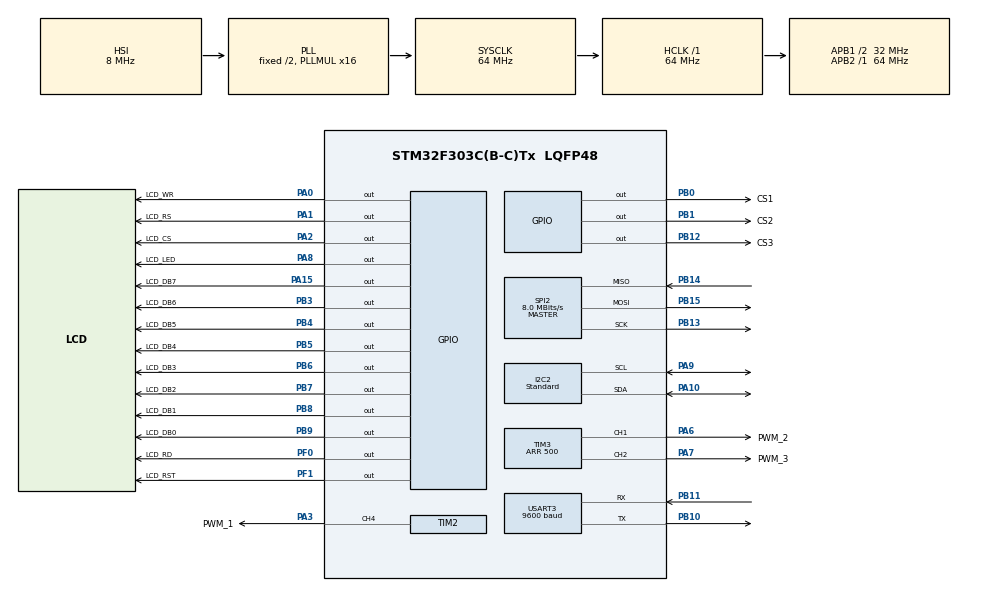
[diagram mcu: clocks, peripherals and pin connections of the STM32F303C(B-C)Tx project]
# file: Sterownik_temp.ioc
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I2C2.I2C_Speed_Mode=I2C_Standard
I2C2.Speed=10
I2C2.Timing=0x200009FE
Mcu.Family=STM32F3
Mcu.Name=STM32F303C(B-C)Tx
Mcu.Package=LQFP48
NVIC.PriorityGroup=NVIC_PRIORITYGROUP_4
NVIC.TIM6_DAC_IRQn=true\:0\:0\:false\:false\:true\:true\:true
NVIC.TIM7_IRQn=true\:0\:0\:false\:false\:true\:true\:true
PA0.GPIO_Label=LCD_WR
PA0.Signal=GPIO_Output
PA1.GPIO_Label=LCD_RS
PA1.Signal=GPIO_Output
PA10.Mode=I2C
PA10.Signal=I2C2_SDA
PA13.Mode=Serial_Wire
PA13.Signal=SYS_JTMS-SWDIO
PA14.Mode=Serial_Wire
PA14.Signal=SYS_JTCK-SWCLK
PA15.GPIO_Label=LCD_DB7
PA15.Signal=GPIO_Output
PA2.GPIO_Label=LCD_CS
PA2.Signal=GPIO_Output
PA3.GPIO_Label=PWM_1
PA3.Signal=S_TIM2_CH4
PA6.GPIO_Label=PWM_2
PA6.Signal=S_TIM3_CH1
PA7.GPIO_Label=PWM_3
PA7.Signal=S_TIM3_CH2
PA8.GPIO_Label=LCD_LED
PA8.Signal=GPIO_Output
PA9.Mode=I2C
PA9.Signal=I2C2_SCL
PB0.GPIO_Label=CS1
PB0.Signal=GPIO_Output
PB1.GPIO_Label=CS2
PB1.Signal=GPIO_Output
PB10.Mode=Asynchronous
PB10.Signal=USART3_TX
PB11.Mode=Asynchronous
PB11.Signal=USART3_RX
PB12.GPIO_Label=CS3
PB12.Signal=GPIO_Output
PB13.Mode=Full_Duplex_Master
PB13.Signal=SPI2_SCK
PB14.Mode=Full_Duplex_Master
PB14.Signal=SPI2_MISO
PB15.Mode=Full_Duplex_Master
PB15.Signal=SPI2_MOSI
PB3.GPIO_Label=LCD_DB6
PB3.Signal=GPIO_Output
PB4.GPIO_Label=LCD_DB5
PB4.Signal=GPIO_Output
PB5.GPIO_Label=LCD_DB4
PB5.Signal=GPIO_Output
PB6.GPIO_Label=LCD_DB3
PB6.Signal=GPIO_Output
PB7.GPIO_Label=LCD_DB2
PB7.Signal=GPIO_Output
PB8.GPIO_Label=LCD_DB1
PB8.Signal=GPIO_Output
PB9.GPIO_Label=LCD_DB0
PB9.Signal=GPIO_Output
PC14-OSC32_IN.Mode=LSE-External-Oscillator
PC14-OSC32_IN.Signal=RCC_OSC32_IN
PC15-OSC32_OUT.Mode=LSE-External-Oscillator
PC15-OSC32_OUT.Signal=RCC_OSC32_OUT
PF0-OSC_IN.GPIO_Label=LCD_RD
PF0-OSC_IN.Signal=GPIO_Output
PF1-OSC_OUT.GPIO_Label=LCD_RST
PF1-OSC_OUT.Signal=GPIO_Output
ProjectManager.HeapSize=0x200
ProjectManager.StackSize=0x400
ProjectManager.TargetToolchain=TrueSTUDIO
RCC.AHBFreq_Value=64000000
RCC.APB1CLKDivider=RCC_HCLK_DIV2
RCC.APB1Freq_Value=32000000
RCC.APB1TimFreq_Value=64000000
RCC.APB2Freq_Value=64000000
RCC.APB2TimFreq_Value=64000000
RCC.CortexFreq_Value=64000000
RCC.HCLKFreq_Value=64000000
RCC.HSE_VALUE=8000000
RCC.HSI_VALUE=8000000
RCC.PLLMUL=RCC_PLL_MUL16
RCC.RTCClockSelection=RCC_RTCCLKSOURCE_LSE
RCC.SYSCLKFreq_VALUE=64000000
RCC.SYSCLKSourceVirtual=RCC_SYSCLKSOURCE_PLLCLK
RCC.USBFreq_Value=64000000
RTC.Hours=11
RTC.Minutes=30
RTC.Year=20
SH.S_TIM2_CH4.0=TIM2_CH4,PWM Generation4 CH4
SH.S_TIM3_CH1.0=TIM3_CH1,PWM Generation1 CH1
SH.S_TIM3_CH2.0=TIM3_CH2,PWM Generation2 CH2
SPI2.BaudRatePrescaler=SPI_BAUDRATEPRESCALER_4
SPI2.CLKPhase=SPI_PHASE_2EDGE
SPI2.CLKPolarity=SPI_POLARITY_LOW
SPI2.CalculateBaudRate=8.0 MBits/s
SPI2.DataSize=SPI_DATASIZE_8BIT
SPI2.Direction=SPI_DIRECTION_2LINES
SPI2.Mode=SPI_MODE_MASTER
SPI2.VirtualType=VM_MASTER
TIM2.AutoReloadPreload=TIM_AUTORELOAD_PRELOAD_ENABLE
TIM2.Channel-PWM\ Generation4\ CH4=TIM_CHANNEL_4
TIM2.Period=500
TIM3.AutoReloadPreload=TIM_AUTORELOAD_PRELOAD_ENABLE
TIM3.Channel-PWM\ Generation1\ CH1=TIM_CHANNEL_1
TIM3.Channel-PWM\ Generation2\ CH2=TIM_CHANNEL_2
TIM3.Period=500
TIM6.AutoReloadPreload=TIM_AUTORELOAD_PRELOAD_ENABLE
TIM6.Period=10000
TIM6.Prescaler=1
TIM7.AutoReloadPreload=TIM_AUTORELOAD_PRELOAD_ENABLE
TIM7.Period=30000
TIM7.Prescaler=10
USART3.BaudRate=9600
USART3.DMADisableonRxErrorParam=ADVFEATURE_DMA_DISABLEONRXERROR
USART3.OverrunDisableParam=ADVFEATURE_OVERRUN_DISABLE
USART3.VirtualMode-Asynchronous=VM_ASYNC
VP_RTC_VS_RTC_Activate.Mode=RTC_Enabled
VP_RTC_VS_RTC_Calendar.Mode=RTC_Calendar
VP_TIM6_VS_ClockSourceINT.Mode=Enable_Timer
VP_TIM7_VS_ClockSourceINT.Mode=Enable_Timer
board=custom

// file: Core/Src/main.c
/* USER CODE BEGIN Header */
/**
  ******************************************************************************
  * @file           : main.c
  * @brief          : Main program body
  ******************************************************************************
  * @attention
  *
  * <h2><center>&copy; Copyright (c) 2021 STMicroelectronics.
  * All rights reserved.</center></h2>
  *
  * This software component is licensed by ST under BSD 3-Clause license,
  * the "License"; You may not use this file except in compliance with the
  * License. You may obtain a copy of the License at:
  *                        opensource.org/licenses/BSD-3-Clause
  *
  ******************************************************************************
  */
/* USER CODE END Header */
#include "main.h"

/* USER CODE BEGIN Includes */
//#include "printf/printf.h"
#include "D:\stm projekty\Sterownik_temp\libs\lcd.h"
#include "D:\stm projekty\Sterownik_temp\TrueSTUDIO\Sterownik_temp\touch.h"
#include "D:\stm projekty\Sterownik_temp\TrueSTUDIO\Sterownik_temp\MAX31865_v1.h"
#include "D:\stm projekty\Sterownik_temp\TrueSTUDIO\Sterownik_temp\TC74A0.h"
#include "D:\stm projekty\Sterownik_temp\TrueSTUDIO\Sterownik_temp\disp_irq.h"
#include "D:\stm projekty\Sterownik_temp\TrueSTUDIO\Sterownik_temp\Flash.h"
/* USER CODE END Includes */

/* USER CODE BEGIN PTD */
//typedef struct{
//	float temp_diff[3];
//	uint8_t hysteresis[3];
//	uint16_t pwm_val[3];
//	float voltage_val[3];
//}temperature_differential_val;	// przechowuje dane o ró¿nicy tepm, wskazaniach napiêcia i PWM
/* USER CODE END PTD */

/* USER CODE BEGIN PD */
#define PWM_MAX 500

#define PIEC_PWM_MIN 375	// PWM 1 piec 8,5V
#define PIEC_PWM_MAX 500	// 12 V
#define PIEC_U_MIN 8.5
#define PIEC_U_MAX 12

#define SOLAR_PWM_MIN 237 	// PWM 2 solar 6,5V
#define SOLAR_PWM_MAX 500	// 12 V
#define SOLAR_U_MIN 6.5
#define SOLAR_U_MAX 12

#define OBIEG_PWM_MIN 252 	// PWM 3 cyrkulacja 6V
#define OBIEG_PWM_MAX 211	// 5 V
#define OBIEG_U_MIN 6
#define OBIEG_U_MAX 5
#define OBIEG_TIME 3

//#define hysteresis 0.5

/* USER CODE END PD */

I2C_HandleTypeDef hi2c2;

RTC_HandleTypeDef hrtc;

SPI_HandleTypeDef hspi2;

TIM_HandleTypeDef htim2;
TIM_HandleTypeDef htim3;
TIM_HandleTypeDef htim6;
TIM_HandleTypeDef htim7;

UART_HandleTypeDef huart3;

/* USER CODE BEGIN PV */
temperature temp = {0}; // wskazania temperatury ze wszystkch czujników

time t_last;  // przechowuje wskazania czasu z poprzedniego cyklu procesora je¿eli zostanie wykryta zmiana nadpisana zostanie tylko wskazanie które siê zmieni³o

//differntial_vals diff;

btn_location cr_screen;  // struktura przechowuj¹ca po³o¿enie wszystkich przycisków oraz wyœwietlanego menu

point ts_p;  // wskazania pkt x,y w którym wykryto dotkniêcie matrycy wyœwietlacza

time t,t_in_timer; // przechowuj¹ wskazania czasu dla g³ównej pêtli programu oraz wewn¹trz timera (przypisanie wartoœci przez urzytkownika w menu)

differntial_vals diff_vals, diff_menu; // wartoœci ró¿nic temperatur pomiêdzy zasobnikiem a innymi czujnikami s³u¿¹ jako odniesienie do wyznaczenia pwm-a poszczególnych pompek

temperature_differential_val diff_otp; // przechowuje dok³adne dane o ró¿nicy tepm, wskazaniach napiêcia i PWM

uint8_t obieg_cnt; // pompka obiegu pracuje w dwóch stanach (rozruch 5V i normalna praca 6V) po okreœlonym czasie nastêpuje prze³¹czenie z jednego na drugi do tego s³u¿y ten licznik

//int8_t temp_diff[3];

/* USER CODE END PV */

void SystemClock_Config(void);
static void MX_GPIO_Init(void);
static void MX_I2C2_Init(void);
static void MX_SPI2_Init(void);
static void MX_TIM2_Init(void);
static void MX_TIM3_Init(void);
static void MX_USART3_UART_Init(void);
static void MX_RTC_Init(void);
static void MX_TIM6_Init(void);
static void MX_TIM7_Init(void);
/* USER CODE BEGIN PFP */

void set_time(time t_init){
	// funkcja zapisuj¹ca godzinê do rtc wewn¹trz STM-a

	//struktury przechowujace date i czas
	RTC_TimeTypeDef sTime = {0};
	RTC_DateTypeDef sDate = {0};

	sTime.Hours = t_init.hour;
	sTime.Minutes = t_init.min;
	sTime.Seconds = 0;
	sTime.DayLightSaving = RTC_DAYLIGHTSAVING_NONE;
	sTime.StoreOperation = RTC_STOREOPERATION_RESET;
	if (HAL_RTC_SetTime(&hrtc, &sTime, RTC_FORMAT_BIN) != HAL_OK)
	{
		Error_Handler();
	}

	// przypisanie jakich kolwiek wartoœci do rejestrów daty
	// aby nadpisac RTC potrzebne jest jednoczesne zapisanie i godziny i daty
	// w programie wykorzystane bêd¹ jedynie wskazania godziny
	sDate.WeekDay = RTC_WEEKDAY_MONDAY;
	sDate.Month = RTC_MONTH_JANUARY;
	sDate.Date = 0x1;
	sDate.Year = 0x20;

	if (HAL_RTC_SetDate(&hrtc, &sDate, RTC_FORMAT_BIN) != HAL_OK)
	{
		Error_Handler();
	}
//	HAL_RTCEx_BKUPWrite(&hrtc,PTC_B)
}
time read_time(){
	//funkcja odczytuj¹ca czas z rtc STM-a

	time t= {0};  // pusta struktura czasu

	RTC_TimeTypeDef gTime = {0};
	RTC_DateTypeDef gDate = {0};

	//odczyt daty i godziny
	HAL_RTC_GetTime(&hrtc, &gTime,RTC_FORMAT_BIN);
	HAL_RTC_GetDate(&hrtc, &gDate,RTC_FORMAT_BIN);

	// nadpisanie struktury póŸniej u¿ywanej w programie
	t.year = gDate.Year;
	t.mon = gDate.Month;
	t.day = gDate.Date;
	t.hour = gTime.Hours;
	t.min = gTime.Minutes;
	t.sec = gTime.Seconds;

	return t;
}

void set_pwm_otp(uint16_t val,uint8_t otp_nr){
	// funkcja za³¹czaj¹ca pwm na odpowiednim wyjœciu dla pompki (pieca, solara, obiegu)
	// val (pwm) musi byc wiêksze od 100 je¿eli pompka jest za³¹czona
	if(val > 100){
		switch(otp_nr){
		case PIEC_DIFF:
			HAL_TIM_PWM_Start(&htim2,TIM_CHANNEL_4);
			TIM2->CCR4 = val;
			break;
		case SOLAR_DIFF:
			HAL_TIM_PWM_Start(&htim3,TIM_CHANNEL_1);
			TIM3->CCR1 = val;
			break;
		case OBIEG_DIFF:
			HAL_TIM_PWM_Start(&htim3,TIM_CHANNEL_2);
			TIM3->CCR2 = val;
			break;
		}
	}else{
		// je¿eli pompka jest wy³¹czona wtedy timer jest zatrzymywany i ostawiane jest "0" na gpio
		switch(otp_nr){
		case PIEC_DIFF:
			TIM2->CCR4 = 0;
//			HAL_TIM_PWM_Stop(&htim2,TIM_CHANNEL_4);
//			HAL_TIM_
			HAL_GPIO_WritePin(PWM_1_GPIO_Port,PWM_1_Pin,0);
			break;
		case SOLAR_DIFF:
			HAL_TIM_PWM_Stop(&htim3,TIM_CHANNEL_1);
			HAL_GPIO_WritePin(PWM_2_GPIO_Port,PWM_2_Pin,0);
			break;
		case OBIEG_DIFF:
			HAL_TIM_PWM_Stop(&htim3,TIM_CHANNEL_2);
			HAL_GPIO_WritePin(PWM_3_GPIO_Port,PWM_3_Pin,0);
			break;
		}
	}
//	TIM2->CCR4 = 1430;	// PWM 1 piec 8,5V
//	  TIM3->CCR1 = 1093;	// PWM 2 solar 6,5V
//	  TIM3->CCR2 = 1010;	// PWM 3 cyrkulacja 6V
}
/* USER CODE END PFP */

/* USER CODE BEGIN 0 */
void HAL_TIM_PeriodElapsedCallback(TIM_HandleTypeDef *htim){
	uint8_t i,btn_name;
	if(htim->Instance == TIM7){
		// przerwanie timera 7 s³u¿y do podejmowania reakcji na klikanie przycisków przechodz¹cych miêdzy ekranami menu
//		point ts_p = get_pos();
		if(ts_p.p != NO_TOUCH){  // wejœcie do funkcji tylko gdy wykryte zostanie dotkniêcie matrycy

			switch(cr_screen.menu_state){  // sprawdzenie aktualnie wyœwietlanego ekranu

			case MAIN_SCREEN:  // ekran g³ówny
				// warunek po³o¿enia przycisku wejœcia do menu g³ównego
				if(ts_p.x > cr_screen.btn_x[MAIN_SCREEN][0] &&
						ts_p.x < (cr_screen.btn_x[cr_screen.menu_state][0] + cr_screen.btn_x_w[cr_screen.menu_state][0]) &&
						ts_p.y > cr_screen.btn_y[cr_screen.menu_state][0] &&
						ts_p.y < (cr_screen.btn_y[cr_screen.menu_state][0] + cr_screen.btn_y_h[cr_screen.menu_state][0])){
//					LCD_FillScreen(BLACK);
//					print_main_menu_screen();
					cr_screen.menu_state = MAIN_MENU;	// zmiana zmiennej stanu ekranu na menu g³ówne
					print_screen(cr_screen.menu_state);	// wyœwietlenie ekranu menu g³ównego
					// wyzerowanie zmiennych pkt x,y aby w nastêpnym cyklu nie by³y one rozpatrywane
					ts_p.x = 0xFF;
					ts_p.y = 0xFF;
//					 return;

				}
				break;

			case MAIN_MENU:  // menu g³ówne
//				uint8_t i,btn_name;
				btn_name = NO_TOUCH; // wyzerowanie zmiennej do której nast¹pi ewentualne przypisanie makra wciœniêtego przycisku

				// warunek który sprawdza wspó³rzêdne wciœniêtego pkt je¿eli jest on wewn¹trz którego kolwiek przycisku wtedy do btn_name trafi makro danego przycisku
				for(i=0;i<4;i++){
					if(ts_p.x > cr_screen.btn_x[cr_screen.menu_state][i] &&
							ts_p.x < (cr_screen.btn_x[cr_screen.menu_state][i] + cr_screen.btn_x_w[cr_screen.menu_state][i]) &&
							ts_p.y > cr_screen.btn_y[cr_screen.menu_state][i] &&
							ts_p.y < (cr_screen.btn_y[cr_screen.menu_state][i] + cr_screen.btn_y_h[cr_screen.menu_state][i])){
						btn_name = i;
					}
				}

				if(btn_name != NO_TOUCH){ // sprawdzenie czy zosta³ wciœniêty jakikolwiek przycisk
					switch(btn_name){  // sprawdzenie makra przycisku
					case EXIT_BTN: // wyjœcie do ekranu g³ównego
						cr_screen.menu_state = MAIN_SCREEN;
//						print_screen(cr_screen.menu_state);
						update_main_screen(temp,t,diff_otp);
						break;

					case SET_TIME_BTN: // menu zmiany godziny i minuty
						get_time(t); // aktualizacja struktury czasu wewn¹trz biblioteki
						cr_screen.menu_state = TIME_SCREEN;
//						print_screen(cr_screen.menu_state);
						break;

					case SET_PUMP_T_MIN_BTN: // menu zmiany ró¿nic temperatur miêdzy czujnikem a zasobnikiem przy których za³¹czana jest dana pompka
						get_diff_struct(diff_vals);  // przekazanie aktualej strytury z ró¿nicami temp do biblioteki
						cr_screen.menu_state = PUMP_T_MIN_SCREEN;
						break;

					case SET_PUMP_T_MAX_BTN: // menu zmiany ró¿nic temperatur miêdzy czujnikem a zasobnikiem przy których pompki maj¹ osi¹gn¹c max wartoœc napiêcia
						get_diff_struct(diff_vals);
						cr_screen.menu_state = PUMP_T_MAX_SCREEN;
						break;

					}
					// zale¿nie od wybranego menu nastêpuje wyczyszczenie wyœwietlacza i wyœwietlenie ekranu danego menu
					print_screen(cr_screen.menu_state);
				}
				break;

			case TIME_SCREEN:
			case PUMP_T_MIN_SCREEN:
			case PUMP_T_MAX_SCREEN:
				// wspólny zbiór warunków dla menu czasu,za³. pompek i 100% nap. pompek
//				t_in_timer = update_time_screen(ts_p);
				btn_name = NO_TOUCH;

				// sprawdzane s¹ przyciski: zatwierdzenia "ok" i wyjœcia z menu "<"
				for(i=0;i<2;i++){
					if(ts_p.x > cr_screen.btn_x[cr_screen.menu_state][i] &&
							ts_p.x < (cr_screen.btn_x[cr_screen.menu_state][i] + cr_screen.btn_x_w[cr_screen.menu_state][i]) &&
							ts_p.y > cr_screen.btn_y[cr_screen.menu_state][i] &&
							ts_p.y < (cr_screen.btn_y[cr_screen.menu_state][i] + cr_screen.btn_y_h[cr_screen.menu_state][i])){
						btn_name = i;
					}
				}

				ts_p.p = NO_TOUCH;
				if(btn_name != NO_TOUCH){
					switch(btn_name){
					case EXIT_BTN: // wyjœcie do ekranu menu g³ównego
						cr_screen.menu_state = MAIN_MENU;
						print_screen(cr_screen.menu_state); // wyœwietlane zostaje menu g³ówne
						break;

					case OK_BTN: // przycisk zatwierdzenia ustawieñ
						if(cr_screen.menu_state == TIME_SCREEN)set_time(t_in_timer);
						// je¿eli zatwierdzone zostaje menu czasu nastêpuje nadpisanie rtc STM-a
						else {
							// je¿eli zatwierdzone zostaje menu zmiany ró¿nic temperatur
							// struktura zmieniana w menu zostaje przepisana do struktury programu g³ównego
							// zmodyfikowana strutura zostaje zapisana do pamiêci flash aby przy zaniku zasilania dane nie zosta³y utracone
							diff_vals = diff_menu;
							Flash_save_diff(diff_vals);
						}
						// zmienna stanu menu zostaje zmieniona na menu g³ówne
						// wyœwietlone zostaje menu g³ówne
						cr_screen.menu_state = MAIN_MENU;
						print_screen(cr_screen.menu_state);
						break;
					}
				}
				break;

			}
		}
	}
	if(htim->Instance == TIM6){
		// przerwanie timera 6 zarz¹dza wyliczaniem ró¿nicy temperatur miêdzy zasobnikiem a czujnikami dodatkowo wyliczane s¹ wype³nienia dla poszczególnych pwm-ów oraz napiêcia jakie powinny znajdowac siê na wyjœciach pompek

		// wyliczanie ró¿nic temperatur
		diff_otp.temp_diff[PIEC_DIFF] = temp.piec_t.temp - temp.zasobnik_t.temp;
		diff_otp.temp_diff[SOLAR_DIFF] = temp.solar_t.temp - temp.zasobnik_t.temp;
		diff_otp.temp_diff[OBIEG_DIFF] = temp.obieg_t.temp - temp.zasobnik_t.temp;

		uint8_t current_val,read_ok=0;

		// pêtla w której wyliczane zostaj¹ wartoœci pwm i napiêcia
		for(current_val=0;current_val<2;current_val++){
			uint16_t pwm_min,pwm_max;
			float u_min,u_max;

			switch(current_val){

			// przypisanie wartoœci (maks,min) pwm-a i napiêcia dla wskazañ solara
			case SOLAR_DIFF:
				if(temp.solar_t.status == STATUS_OK)read_ok = 1; // sprawdzenie poprawnoœci odczytu
				pwm_min = SOLAR_PWM_MIN;
				pwm_max = SOLAR_PWM_MAX;
				u_min = SOLAR_U_MIN;
				u_max = SOLAR_U_MAX;
				break;

			// przypisanie wartoœci (maks,min) pwm-a i napiêcia dla wskazañ pieca
			case PIEC_DIFF:
				if(temp.piec_t.status == STATUS_OK)read_ok = 1;  // sprawdzenie poprawnoœci odczytu
				pwm_min = PIEC_PWM_MIN;
				pwm_max = PIEC_PWM_MAX;
				u_min = PIEC_U_MIN;
				u_max = PIEC_U_MAX;
				break;
			}

			// je¿eli odczyt jest poprawny
			if(read_ok){

				// je¿eli temp znajduje siê pomiêdzy wartoœci¹ za³. a wart maks.
				if(diff_otp.temp_diff[current_val] >= diff_vals.turn_on_val[current_val] && diff_otp.temp_diff[current_val] <= diff_vals.turn_12V_val[current_val]){
					// wyliczany jest dany pwm (solara lub pieca) na podstawie funkcji mapuj¹cej
					diff_otp.pwm_val[current_val] = map_float(diff_otp.temp_diff[current_val],diff_vals.turn_on_val[current_val],diff_vals.turn_12V_val[current_val],pwm_min,pwm_max);
					// wyliczane jest dane napiêcie (solara lub pieca)
					diff_otp.voltage_val[current_val] = map_float(diff_otp.temp_diff[current_val],diff_vals.turn_on_val[current_val],diff_vals.turn_12V_val[current_val],u_min,u_max);
//					diff_otp.hysteresis[current_val] = 1; opcjonalna histereza
					// faktyczne ustawienie pwm-a danej pompki na podstawie uprzednio wyliczonej wartoœci
					set_pwm_otp(diff_otp.pwm_val[current_val],current_val);
				}

				// je¿eli ró¿nica temperatur jest mniejsz ni¿ ró¿nica za³.
				if(diff_otp.temp_diff[current_val] < (diff_vals.turn_on_val[current_val])){
//					diff_otp.hysteresis[current_val] = 0;
					// napiêcie pompki jest równe 0V
					diff_otp.voltage_val[current_val] = 0;
					// wy³¹czenie danej pompki przez wpisanie wartoœci pwm jako 0
					set_pwm_otp(0,current_val);
				}

				// je¿eli ró¿nica temperatur jest wiêksza ni¿ ró¿nica maksymalna
				if(diff_otp.temp_diff[current_val] > diff_vals.turn_12V_val[current_val]){
					// ustawione zostaje maksymalne wype³nienie dla pwm-a
					set_pwm_otp(PWM_MAX,current_val);
					// wskazanie napiêcei zostaje ustawione na 12V
					diff_otp.voltage_val[current_val] = 12;
				}
			}
		}

		// wylczanie pwm-a i napiêcia dla pompki od obiegu
		current_val = OBIEG_DIFF;
		// je¿eli odczyt jest poprawny
		if(temp.obieg_t.status == STATUS_OK){

			// warunek dla rozruch pompki
			if(diff_otp.temp_diff[current_val] < diff_vals.turn_on_val[current_val] && obieg_cnt < OBIEG_TIME){
				// ustawienie napiêcia 6V oraz odpowiedniego wype³nienia pwm-a
				set_pwm_otp(OBIEG_PWM_MIN,current_val);
				diff_otp.voltage_val[current_val] = OBIEG_U_MIN;
				// zmienna histerezy która przyjmuje wart 1 w czasie rozruchu
				diff_otp.hysteresis[current_val] = 1;
			}

			// warunek pracy ci¹g³ej pompki
			if(diff_otp.temp_diff[current_val] < diff_vals.turn_on_val[current_val] && obieg_cnt == OBIEG_TIME){
				// ustawienie wart. maks. pwm-a pompki obiegu
				set_pwm_otp(OBIEG_PWM_MAX,current_val);
				diff_otp.voltage_val[current_val] = OBIEG_U_MAX;
			}

			// warunek dla ró¿nicy temp. mniejszej ni¿ minimalna z uwzglêdnieniem histerezy + 0,25 stopnie
			if(diff_otp.temp_diff[current_val] > (diff_vals.turn_on_val[current_val] + 0.25) && diff_otp.hysteresis[current_val] == 1){
				// wy³¹czenie pwm-a pompki obiegu
				// ustawienie nap. pompki = 0V
				// wyzerowanie licznika rozruchu pompki
				set_pwm_otp(0,current_val);
				diff_otp.voltage_val[current_val] = 0;
				obieg_cnt = 0;
			}
		}
		if(t.hour > 6 && t.hour < 22){ // podœwietlenie wyœwietlacza nie dzia³a w nocy
			HAL_GPIO_WritePin(LCD_LED_GPIO_Port,LCD_LED_Pin,1);
		}else HAL_GPIO_WritePin(LCD_LED_GPIO_Port,LCD_LED_Pin,0);
	}
}
/* USER CODE END 0 */

int main(void)
{

  /* MCU Configuration--------------------------------------------------------*/

  /* Reset of all peripherals, Initializes the Flash interface and the Systick. */
  HAL_Init();

  /* Configure the system clock */
  SystemClock_Config();

  /* Initialize all configured peripherals */
  MX_GPIO_Init();
  MX_I2C2_Init();
  MX_SPI2_Init();
  MX_TIM2_Init();
  MX_TIM3_Init();
  MX_USART3_UART_Init();
  MX_RTC_Init();
  MX_TIM6_Init();
  MX_TIM7_Init();
  /* USER CODE BEGIN 2 */
//  HAL_TIM_Base_Start_IT(&htim7); // sprawdza przyciski
  HAL_TIM_PWM_Start(&htim2,TIM_CHANNEL_4);	// PWM 1 piec
  HAL_TIM_PWM_Start(&htim3,TIM_CHANNEL_1);  // PWM 2 solar
  HAL_TIM_PWM_Start(&htim3,TIM_CHANNEL_2);	// PWM 3 obieg
  HAL_GPIO_WritePin(LCD_LED_GPIO_Port,LCD_LED_Pin,1);  //podswietlanie

//  TIM2->CCR4 = 1430;	// PWM 1 piec 8,5V
//  TIM3->CCR1 = 1093;	// PWM 2 solar 6,5V
//  TIM3->CCR2 = 1010;	// PWM 3 cyrkulacja 6V
  // ustawienie pwm-ow pompek na 0
  set_pwm_otp(0,PIEC_DIFF);
  set_pwm_otp(0,SOLAR_DIFF);
  set_pwm_otp(0,OBIEG_DIFF);

  // inicjacja wyœwietlacza
  LCD_Init();
  LCD_FillScreen(BLACK);
  LCD_SetTextColor(WHITE,BLACK);
  LCD_SetTextScaled(0);
  LCD_SetRotation(1);
  touch_init();
  LCD_FillScreen(BLACK);

  // zainicjowanie czyjnika temp. dla obiegu (i2c)
  TC74A0_init(&hi2c2);

  // zainicjowanie pozosta³ych czujników pompek rezystancyjnych (PT100)
  max31865_gpio_init(&hspi2);
  max31865_init(ZASOBNIK);
  max31865_init(SOLAR);
  max31865_init(PIEC);

  // pierwszy odczyt temperatury ze wszystkich czujnikow
  temp.obieg_t = TC74A0_read_temp();
  temp.zasobnik_t = max31865_getTemp(ZASOBNIK);
  temp.solar_t = max31865_getTemp(SOLAR);
  temp.piec_t = max31865_getTemp(PIEC);

  // odczyt ró¿nic temperatur z pamiêci flash uC
  diff_vals = Flash_read_diff();

  // inicjacja struktury przechowuj¹cej dane o stanie pracy urz¹dzenia oraz o po³o¿eniach przycisków
  cr_screen = btn_init();
  // wyœwietlenie ekranu g³ównego
  print_screen(cr_screen.menu_state);

  HAL_TIM_Base_Start_IT(&htim6);	// wylicza ró¿nicê temp, liczy pwm i napiecia
  HAL_TIM_Base_Start_IT(&htim7);	// sprawdza przyciski

  /* USER CODE END 2 */

  /* Infinite loop */
  /* USER CODE BEGIN WHILE */
  while (1)
  {
//	  HAL_GPIO_WritePin(LCD_LED_GPIO_Port,LCD_LED_Pin,0);

	  // cykliczny odczyt czasu, temp. wszystkich czujników, stanu wyœwietlacza dotykowego
	  t = read_time();
	  temp.obieg_t = TC74A0_read_temp();
	  temp.zasobnik_t = max31865_getTemp(ZASOBNIK);
	  temp.solar_t = max31865_getTemp(SOLAR);
	  temp.piec_t = max31865_getTemp(PIEC);
	  ts_p = get_pos();

	  // sprawdzanie stanu pracy urz¹dzenia
	  switch(cr_screen.menu_state){
	  case MAIN_SCREEN:  // dla ekranu g³ównego
	  if(t.sec != t_last.sec){  // aktualizowanie wyœwietlacza co sekundê
		  if(diff_otp.hysteresis[OBIEG_DIFF] && obieg_cnt < OBIEG_TIME)obieg_cnt++; // zwiêkszanie licznika rozruchu pompki obiegu
		  update_main_screen(temp,t,diff_otp); // aktualizacja wskazañ na ekranie g³ównym
	  }
	  break;
	  case TIME_SCREEN:  // dla ekranu ustawieñ godziny
		  t_in_timer = update_time_screen(ts_p);  // aktualizacja ekranu menu w oparciu o wspó³rzêdne dotkniêtego pkt na matrycy
		  break;

	  // dla ekranu ustawieñ ró¿nicy temp.
	  case PUMP_T_MIN_SCREEN:
	  case PUMP_T_MAX_SCREEN:
		  diff_menu = update_temp_screen(ts_p,cr_screen.menu_state);  // aktualizacja ekranu menu w oparciu o wspó³rzêdne dotkniêtego pkt na matrycy
		  break;
	  }

	  t_last = t;  // przepisanie struktury czasu (aby porównac j¹ w nastêpnym cyklu

    /* USER CODE END WHILE */

  }
}

void SystemClock_Config(void)
{
  RCC_OscInitTypeDef RCC_OscInitStruct = {0};
  RCC_ClkInitTypeDef RCC_ClkInitStruct = {0};
  RCC_PeriphCLKInitTypeDef PeriphClkInit = {0};

  /** Configure LSE Drive Capability
  */
  HAL_PWR_EnableBkUpAccess();
  __HAL_RCC_LSEDRIVE_CONFIG(RCC_LSEDRIVE_LOW);
  /** Initializes the RCC Oscillators according to the specified parameters
  * in the RCC_OscInitTypeDef structure.
  */
  RCC_OscInitStruct.OscillatorType = RCC_OSCILLATORTYPE_HSI|RCC_OSCILLATORTYPE_LSE;
  RCC_OscInitStruct.LSEState = RCC_LSE_ON;
  RCC_OscInitStruct.HSIState = RCC_HSI_ON;
  RCC_OscInitStruct.HSICalibrationValue = RCC_HSICALIBRATION_DEFAULT;
  RCC_OscInitStruct.PLL.PLLState = RCC_PLL_ON;
  RCC_OscInitStruct.PLL.PLLSource = RCC_PLLSOURCE_HSI;
  RCC_OscInitStruct.PLL.PLLMUL = RCC_PLL_MUL16;
  if (HAL_RCC_OscConfig(&RCC_OscInitStruct) != HAL_OK)
  {
    Error_Handler();
  }
  /** Initializes the CPU, AHB and APB buses clocks
  */
  RCC_ClkInitStruct.ClockType = RCC_CLOCKTYPE_HCLK|RCC_CLOCKTYPE_SYSCLK
                              |RCC_CLOCKTYPE_PCLK1|RCC_CLOCKTYPE_PCLK2;
  RCC_ClkInitStruct.SYSCLKSource = RCC_SYSCLKSOURCE_PLLCLK;
  RCC_ClkInitStruct.AHBCLKDivider = RCC_SYSCLK_DIV1;
  RCC_ClkInitStruct.APB1CLKDivider = RCC_HCLK_DIV2;
  RCC_ClkInitStruct.APB2CLKDivider = RCC_HCLK_DIV1;

  if (HAL_RCC_ClockConfig(&RCC_ClkInitStruct, FLASH_LATENCY_2) != HAL_OK)
  {
    Error_Handler();
  }
  PeriphClkInit.PeriphClockSelection = RCC_PERIPHCLK_USART3|RCC_PERIPHCLK_I2C2
                              |RCC_PERIPHCLK_RTC;
  PeriphClkInit.Usart3ClockSelection = RCC_USART3CLKSOURCE_PCLK1;
  PeriphClkInit.I2c2ClockSelection = RCC_I2C2CLKSOURCE_HSI;
  PeriphClkInit.RTCClockSelection = RCC_RTCCLKSOURCE_LSE;
  if (HAL_RCCEx_PeriphCLKConfig(&PeriphClkInit) != HAL_OK)
  {
    Error_Handler();
  }
}

static void MX_I2C2_Init(void)
{

  hi2c2.Instance = I2C2;
  hi2c2.Init.Timing = 0x200009FE;
  hi2c2.Init.OwnAddress1 = 0;
  hi2c2.Init.AddressingMode = I2C_ADDRESSINGMODE_7BIT;
  hi2c2.Init.DualAddressMode = I2C_DUALADDRESS_DISABLE;
  hi2c2.Init.OwnAddress2 = 0;
  hi2c2.Init.OwnAddress2Masks = I2C_OA2_NOMASK;
  hi2c2.Init.GeneralCallMode = I2C_GENERALCALL_DISABLE;
  hi2c2.Init.NoStretchMode = I2C_NOSTRETCH_DISABLE;
  if (HAL_I2C_Init(&hi2c2) != HAL_OK)
  {
    Error_Handler();
  }
  /** Configure Analogue filter
  */
  if (HAL_I2CEx_ConfigAnalogFilter(&hi2c2, I2C_ANALOGFILTER_ENABLE) != HAL_OK)
  {
    Error_Handler();
  }
  /** Configure Digital filter
  */
  if (HAL_I2CEx_ConfigDigitalFilter(&hi2c2, 0) != HAL_OK)
  {
    Error_Handler();
  }

}

static void MX_RTC_Init(void)
{

  RTC_TimeTypeDef sTime = {0};
  RTC_DateTypeDef sDate = {0};

  /** Initialize RTC Only
  */
  hrtc.Instance = RTC;
  hrtc.Init.HourFormat = RTC_HOURFORMAT_24;
  hrtc.Init.AsynchPrediv = 127;
  hrtc.Init.SynchPrediv = 255;
  hrtc.Init.OutPut = RTC_OUTPUT_DISABLE;
  hrtc.Init.OutPutPolarity = RTC_OUTPUT_POLARITY_HIGH;
  hrtc.Init.OutPutType = RTC_OUTPUT_TYPE_OPENDRAIN;
  if (HAL_RTC_Init(&hrtc) != HAL_OK)
  {
    Error_Handler();
  }

  /* USER CODE BEGIN Check_RTC_BKUP */
//  HAL_RTC_GetTime(&hrtc, &sTime, RTC_FORMAT_BIN);
//  HAL_RTC_GetDate(&hrtc, &sDate, RTC_FORMAT_BIN);
  return;
  /* USER CODE END Check_RTC_BKUP */

  /** Initialize RTC and set the Time and Date
  */
  sTime.Hours = 0x11;
  sTime.Minutes = 0x30;
  sTime.Seconds = 0x0;
  sTime.DayLightSaving = RTC_DAYLIGHTSAVING_NONE;
  sTime.StoreOperation = RTC_STOREOPERATION_RESET;
  if (HAL_RTC_SetTime(&hrtc, &sTime, RTC_FORMAT_BCD) != HAL_OK)
  {
    Error_Handler();
  }
  sDate.WeekDay = RTC_WEEKDAY_MONDAY;
  sDate.Month = RTC_MONTH_JANUARY;
  sDate.Date = 0x1;
  sDate.Year = 0x20;

  if (HAL_RTC_SetDate(&hrtc, &sDate, RTC_FORMAT_BCD) != HAL_OK)
  {
    Error_Handler();
  }

}

static void MX_SPI2_Init(void)
{

  /* SPI2 parameter configuration*/
  hspi2.Instance = SPI2;
  hspi2.Init.Mode = SPI_MODE_MASTER;
  hspi2.Init.Direction = SPI_DIRECTION_2LINES;
  hspi2.Init.DataSize = SPI_DATASIZE_8BIT;
  hspi2.Init.CLKPolarity = SPI_POLARITY_LOW;
  hspi2.Init.CLKPhase = SPI_PHASE_2EDGE;
  hspi2.Init.NSS = SPI_NSS_SOFT;
  hspi2.Init.BaudRatePrescaler = SPI_BAUDRATEPRESCALER_4;
  hspi2.Init.FirstBit = SPI_FIRSTBIT_MSB;
  hspi2.Init.TIMode = SPI_TIMODE_DISABLE;
  hspi2.Init.CRCCalculation = SPI_CRCCALCULATION_DISABLE;
  hspi2.Init.CRCPolynomial = 7;
  hspi2.Init.CRCLength = SPI_CRC_LENGTH_DATASIZE;
  hspi2.Init.NSSPMode = SPI_NSS_PULSE_DISABLE;
  if (HAL_SPI_Init(&hspi2) != HAL_OK)
  {
    Error_Handler();
  }

}

static void MX_TIM2_Init(void)
{

  TIM_MasterConfigTypeDef sMasterConfig = {0};
  TIM_OC_InitTypeDef sConfigOC = {0};

  htim2.Instance = TIM2;
  htim2.Init.Prescaler = 0;
  htim2.Init.CounterMode = TIM_COUNTERMODE_UP;
  htim2.Init.Period = 500;
  htim2.Init.ClockDivision = TIM_CLOCKDIVISION_DIV1;
  htim2.Init.AutoReloadPreload = TIM_AUTORELOAD_PRELOAD_ENABLE;
  if (HAL_TIM_PWM_Init(&htim2) != HAL_OK)
  {
    Error_Handler();
  }
  sMasterConfig.MasterOutputTrigger = TIM_TRGO_RESET;
  sMasterConfig.MasterSlaveMode = TIM_MASTERSLAVEMODE_DISABLE;
  if (HAL_TIMEx_MasterConfigSynchronization(&htim2, &sMasterConfig) != HAL_OK)
  {
    Error_Handler();
  }
  sConfigOC.OCMode = TIM_OCMODE_PWM1;
  sConfigOC.Pulse = 0;
  sConfigOC.OCPolarity = TIM_OCPOLARITY_HIGH;
  sConfigOC.OCFastMode = TIM_OCFAST_DISABLE;
  if (HAL_TIM_PWM_ConfigChannel(&htim2, &sConfigOC, TIM_CHANNEL_4) != HAL_OK)
  {
    Error_Handler();
  }
  HAL_TIM_MspPostInit(&htim2);

}

static void MX_TIM3_Init(void)
{

  TIM_MasterConfigTypeDef sMasterConfig = {0};
  TIM_OC_InitTypeDef sConfigOC = {0};

  htim3.Instance = TIM3;
  htim3.Init.Prescaler = 0;
  htim3.Init.CounterMode = TIM_COUNTERMODE_UP;
  htim3.Init.Period = 500;
  htim3.Init.ClockDivision = TIM_CLOCKDIVISION_DIV1;
  htim3.Init.AutoReloadPreload = TIM_AUTORELOAD_PRELOAD_ENABLE;
  if (HAL_TIM_PWM_Init(&htim3) != HAL_OK)
  {
    Error_Handler();
  }
  sMasterConfig.MasterOutputTrigger = TIM_TRGO_RESET;
  sMasterConfig.MasterSlaveMode = TIM_MASTERSLAVEMODE_DISABLE;
  if (HAL_TIMEx_MasterConfigSynchronization(&htim3, &sMasterConfig) != HAL_OK)
  {
    Error_Handler();
  }
  sConfigOC.OCMode = TIM_OCMODE_PWM1;
  sConfigOC.Pulse = 0;
  sConfigOC.OCPolarity = TIM_OCPOLARITY_HIGH;
  sConfigOC.OCFastMode = TIM_OCFAST_DISABLE;
  if (HAL_TIM_PWM_ConfigChannel(&htim3, &sConfigOC, TIM_CHANNEL_1) != HAL_OK)
  {
    Error_Handler();
  }
  if (HAL_TIM_PWM_ConfigChannel(&htim3, &sConfigOC, TIM_CHANNEL_2) != HAL_OK)
  {
    Error_Handler();
  }
  HAL_TIM_MspPostInit(&htim3);

}

static void MX_TIM6_Init(void)
{

  TIM_MasterConfigTypeDef sMasterConfig = {0};

  htim6.Instance = TIM6;
  htim6.Init.Prescaler = 10;
  htim6.Init.CounterMode = TIM_COUNTERMODE_UP;
  htim6.Init.Period = 10000;
  htim6.Init.AutoReloadPreload = TIM_AUTORELOAD_PRELOAD_ENABLE;
  if (HAL_TIM_Base_Init(&htim6) != HAL_OK)
  {
    Error_Handler();
  }
  sMasterConfig.MasterOutputTrigger = TIM_TRGO_RESET;
  sMasterConfig.MasterSlaveMode = TIM_MASTERSLAVEMODE_DISABLE;
  if (HAL_TIMEx_MasterConfigSynchronization(&htim6, &sMasterConfig) != HAL_OK)
  {
    Error_Handler();
  }

}

static void MX_TIM7_Init(void)
{

  TIM_MasterConfigTypeDef sMasterConfig = {0};

  htim7.Instance = TIM7;
  htim7.Init.Prescaler = 10;
  htim7.Init.CounterMode = TIM_COUNTERMODE_UP;
  htim7.Init.Period = 30000;
  htim7.Init.AutoReloadPreload = TIM_AUTORELOAD_PRELOAD_ENABLE;
  if (HAL_TIM_Base_Init(&htim7) != HAL_OK)
  {
    Error_Handler();
  }
  sMasterConfig.MasterOutputTrigger = TIM_TRGO_RESET;
  sMasterConfig.MasterSlaveMode = TIM_MASTERSLAVEMODE_DISABLE;
  if (HAL_TIMEx_MasterConfigSynchronization(&htim7, &sMasterConfig) != HAL_OK)
  {
    Error_Handler();
  }

}

static void MX_USART3_UART_Init(void)
{

  huart3.Instance = USART3;
  huart3.Init.BaudRate = 9600;
  huart3.Init.WordLength = UART_WORDLENGTH_8B;
  huart3.Init.StopBits = UART_STOPBITS_1;
  huart3.Init.Parity = UART_PARITY_NONE;
  huart3.Init.Mode = UART_MODE_TX_RX;
  huart3.Init.HwFlowCtl = UART_HWCONTROL_NONE;
  huart3.Init.OverSampling = UART_OVERSAMPLING_16;
  huart3.Init.OneBitSampling = UART_ONE_BIT_SAMPLE_DISABLE;
  huart3.AdvancedInit.AdvFeatureInit = UART_ADVFEATURE_RXOVERRUNDISABLE_INIT|UART_ADVFEATURE_DMADISABLEONERROR_INIT;
  huart3.AdvancedInit.OverrunDisable = UART_ADVFEATURE_OVERRUN_DISABLE;
  huart3.AdvancedInit.DMADisableonRxError = UART_ADVFEATURE_DMA_DISABLEONRXERROR;
  if (HAL_UART_Init(&huart3) != HAL_OK)
  {
    Error_Handler();
  }

}

static void MX_GPIO_Init(void)
{
  GPIO_InitTypeDef GPIO_InitStruct = {0};

  /* GPIO Ports Clock Enable */
  __HAL_RCC_GPIOC_CLK_ENABLE();
  __HAL_RCC_GPIOF_CLK_ENABLE();
  __HAL_RCC_GPIOA_CLK_ENABLE();
  __HAL_RCC_GPIOB_CLK_ENABLE();

  /*Configure GPIO pin Output Level */
  HAL_GPIO_WritePin(GPIOF, LCD_RD_Pin|LCD_RST_Pin, GPIO_PIN_RESET);

  /*Configure GPIO pin Output Level */
  HAL_GPIO_WritePin(GPIOA, LCD_WR_Pin|LCD_RS_Pin|LCD_CS_Pin|LCD_LED_Pin
                          |LCD_DB7_Pin, GPIO_PIN_RESET);

  /*Configure GPIO pin Output Level */
  HAL_GPIO_WritePin(GPIOB, CS1_Pin|CS2_Pin|CS3_Pin|LCD_DB6_Pin
                          |LCD_DB5_Pin|LCD_DB4_Pin|LCD_DB3_Pin|LCD_DB2_Pin
                          |LCD_DB1_Pin|LCD_DB0_Pin, GPIO_PIN_RESET);

  /*Configure GPIO pins : LCD_RD_Pin LCD_RST_Pin */
  GPIO_InitStruct.Pin = LCD_RD_Pin|LCD_RST_Pin;
  GPIO_InitStruct.Mode = GPIO_MODE_OUTPUT_PP;
  GPIO_InitStruct.Pull = GPIO_NOPULL;
  GPIO_InitStruct.Speed = GPIO_SPEED_FREQ_LOW;
  HAL_GPIO_Init(GPIOF, &GPIO_InitStruct);

  /*Configure GPIO pins : LCD_WR_Pin LCD_RS_Pin LCD_CS_Pin LCD_LED_Pin
                           LCD_DB7_Pin */
  GPIO_InitStruct.Pin = LCD_WR_Pin|LCD_RS_Pin|LCD_CS_Pin|LCD_LED_Pin
                          |LCD_DB7_Pin;
  GPIO_InitStruct.Mode = GPIO_MODE_OUTPUT_PP;
  GPIO_InitStruct.Pull = GPIO_NOPULL;
  GPIO_InitStruct.Speed = GPIO_SPEED_FREQ_LOW;
  HAL_GPIO_Init(GPIOA, &GPIO_InitStruct);

  /*Configure GPIO pins : CS1_Pin CS2_Pin CS3_Pin LCD_DB6_Pin
                           LCD_DB5_Pin LCD_DB4_Pin LCD_DB3_Pin LCD_DB2_Pin
                           LCD_DB1_Pin LCD_DB0_Pin */
  GPIO_InitStruct.Pin = CS1_Pin|CS2_Pin|CS3_Pin|LCD_DB6_Pin
                          |LCD_DB5_Pin|LCD_DB4_Pin|LCD_DB3_Pin|LCD_DB2_Pin
                          |LCD_DB1_Pin|LCD_DB0_Pin;
  GPIO_InitStruct.Mode = GPIO_MODE_OUTPUT_PP;
  GPIO_InitStruct.Pull = GPIO_NOPULL;
  GPIO_InitStruct.Speed = GPIO_SPEED_FREQ_LOW;
  HAL_GPIO_Init(GPIOB, &GPIO_InitStruct);

}

void Error_Handler(void)
{
  __disable_irq();
  while (1)
  {
  }
}

/************************ (C) COPYRIGHT STMicroelectronics *****END OF FILE****/
